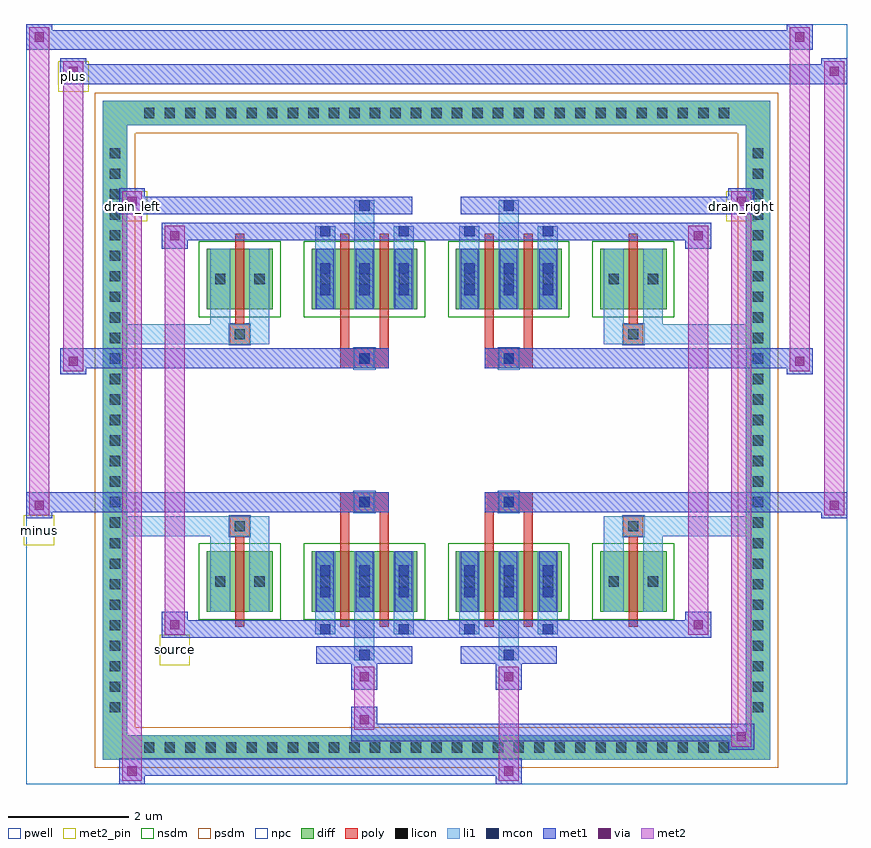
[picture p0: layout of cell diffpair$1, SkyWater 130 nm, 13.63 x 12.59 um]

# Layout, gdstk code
import gdstk
lib = gdstk.Library(unit=1e-6, precision=5e-09)
def R(c, l, rs):  # rectangles x0, y0, x1, y1
    for r in rs: c.add(gdstk.rectangle(r[:2], r[2:], *l))
def A(c, l, x, y, w, h, nx, ny, dx, dy):  # array of equal rectangles
    R(c, l, [(x+i*dx, y+j*dy, x+i*dx+w, y+j*dy+h) for i in range(nx) for j in range(ny)])
def P(c, l, *ps):  # polygons
    for p in ps: c.add(gdstk.Polygon(p, *l))
pwell = (64, 44)
diff = (65, 20)
poly = (66, 20)
licon = (66, 44)
li1 = (67, 20)
mcon = (67, 44)
met1 = (68, 20)
via = (68, 44)
met2_pin = (69, 16)
met2 = (69, 20)
nsdm = (93, 44)
psdm = (94, 20)
npc = (95, 20)

diffpair_1 = lib.new_cell('diffpair$1')
R(diffpair_1, pwell, [(-6.8,-5.86,6.8,6.73), (-4.12,-4.05,-0.01,-0.825), (0.01,-4.05,4.12,-0.825), (-4.12,0.825,-0.01,4.05), (0.01,0.825,4.12,4.05)])
A(diffpair_1, diff, -4.965, -5.46, 0.41, 0.41, 29, 2, 0.34, 10.51)
A(diffpair_1, diff, -5.53, -4.795, 0.41, 0.41, 1, 28, 0, 0.34)
A(diffpair_1, diff, 5.12, -4.795, 0.41, 0.41, 1, 28, 0, 0.34)
R(diffpair_1, diff, [(-4.965,-5.46,4.965,-5.05), (-5.53,-4.795,-5.12,4.795), (5.12,-4.795,5.53,4.795), (-3.81,-3.005,-2.71,-2.005), (-2.07,-3.005,-0.32,-2.005), (0.32,-3.005,2.07,-2.005), (2.71,-3.005,3.81,-2.005), (-3.81,2.005,-2.71,3.005), (-2.07,2.005,-0.32,3.005), (0.32,2.005,2.07,3.005), (2.71,2.005,3.81,3.005), (-4.965,5.05,4.965,5.46)])
P(diffpair_1, diff, [(5.53,5.46),(-5.53,5.46),(-5.53,-5.05),(-5.12,-5.05),(-5.12,5.05),(5.12,5.05),(5.12,-5.05),(-5.12,-5.05),(-5.53,-5.05),(-5.53,-5.46),(5.53,-5.46)])
R(diffpair_1, poly, [(-3.335,-3.255,-3.185,-1.755), (-1.595,-3.255,-1.445,-1.755), (-0.945,-3.255,-0.795,-1.755), (0.795,-3.255,0.945,-1.755), (1.445,-3.255,1.595,-1.755), (3.185,-3.255,3.335,-1.755), (-3.425,-1.755,-3.095,-1.425), (-3.425,-1.755,-3.095,-1.425), (-1.595,-1.755,-1.445,-1.355), (-0.945,-1.755,-0.795,-1.355), (0.795,-1.755,0.945,-1.355), (1.445,-1.755,1.595,-1.355), (3.095,-1.755,3.425,-1.425), (3.095,-1.755,3.425,-1.425), (-1.595,-1.355,-0.795,-1.025), (-1.36,-1.355,-1.03,-1.025), (0.795,-1.355,1.595,-1.025), (1.03,-1.355,1.36,-1.025), (-1.595,1.025,-0.795,1.355), (-1.36,1.025,-1.03,1.355), (0.795,1.025,1.595,1.355), (1.03,1.025,1.36,1.355), (-1.595,1.355,-1.445,1.755), (-0.945,1.355,-0.795,1.755), (0.795,1.355,0.945,1.755), (1.445,1.355,1.595,1.755), (-3.425,1.425,-3.095,1.755), (-3.425,1.425,-3.095,1.755), (3.095,1.425,3.425,1.755), (3.095,1.425,3.425,1.755), (-3.335,1.755,-3.185,3.255), (-1.595,1.755,-1.445,3.255), (-0.945,1.755,-0.795,3.255), (0.795,1.755,0.945,3.255), (1.445,1.755,1.595,3.255), (3.185,1.755,3.335,3.255)])
A(diffpair_1, licon, -4.845, -5.34, 0.17, 0.17, 29, 2, 0.34, 10.51)
A(diffpair_1, licon, -5.41, -4.675, 0.17, 0.17, 1, 28, 0, 0.34)
A(diffpair_1, licon, 5.24, -4.675, 0.17, 0.17, 1, 28, 0, 0.34)
A(diffpair_1, licon, -1.93, -2.59, 0.17, 0.17, 3, 2, 0.65, 5.01)
A(diffpair_1, licon, 0.46, -2.59, 0.17, 0.17, 3, 2, 0.65, 5.01)
R(diffpair_1, licon, [(-3.67,-2.59,-3.5,-2.42), (-3.02,-2.59,-2.85,-2.42), (2.85,-2.59,3.02,-2.42), (3.5,-2.59,3.67,-2.42), (-3.345,-1.675,-3.175,-1.505), (3.175,-1.675,3.345,-1.505), (-1.28,-1.275,-1.11,-1.105), (1.11,-1.275,1.28,-1.105), (-1.28,1.105,-1.11,1.275), (1.11,1.105,1.28,1.275), (-3.345,1.505,-3.175,1.675), (3.175,1.505,3.345,1.675), (-3.67,2.42,-3.5,2.59), (-3.02,2.42,-2.85,2.59), (2.85,2.42,3.02,2.59), (3.5,2.42,3.67,2.59)])
A(diffpair_1, li1, -4.925, -5.42, 0.33, 0.33, 29, 2, 0.34, 10.51)
A(diffpair_1, li1, -5.49, -4.755, 0.33, 0.33, 1, 28, 0, 0.34)
A(diffpair_1, li1, 5.16, -4.755, 0.33, 0.33, 1, 28, 0, 0.34)
A(diffpair_1, li1, -2.01, -3.005, 0.33, 1, 3, 2, 0.65, 5.01)
A(diffpair_1, li1, 0.38, -3.005, 0.33, 1, 3, 2, 0.65, 5.01)
A(diffpair_1, li1, -1.93, -2.77, 0.17, 0.17, 3, 2, 0.65, 0.36)
A(diffpair_1, li1, -1.93, -2.77, 0.17, 0.53, 3, 2, 0.65, 5.01)
A(diffpair_1, li1, 0.46, -2.77, 0.17, 0.17, 3, 2, 0.65, 0.36)
A(diffpair_1, li1, 0.46, -2.77, 0.17, 0.53, 3, 2, 0.65, 5.01)
A(diffpair_1, li1, -2.01, -2.67, 0.33, 0.33, 3, 2, 0.65, 5.01)
A(diffpair_1, li1, 0.38, -2.67, 0.33, 0.33, 3, 2, 0.65, 5.01)
A(diffpair_1, li1, -1.93, 2.24, 0.17, 0.17, 3, 2, 0.65, 0.36)
A(diffpair_1, li1, 0.46, 2.24, 0.17, 0.17, 3, 2, 0.65, 0.36)
R(diffpair_1, li1, [(-5.53,-5.46,-5.12,-5.05), (-5.53,-5.46,-5.12,-5.05), (-5.12,-5.46,5.12,-5.05), (5.12,-5.46,5.53,-5.05), (5.12,-5.46,5.53,-5.05), (-5.53,-5.05,-5.12,5.05), (5.12,-5.05,5.53,5.05), (-1.36,-3.81,-1.03,-3.005), (-1.28,-3.81,-1.11,-3.64), (1.03,-3.81,1.36,-3.005), (1.11,-3.81,1.28,-3.64), (-2.01,-3.38,-1.68,-3.005), (-1.93,-3.38,-1.76,-3.21), (-0.71,-3.38,-0.38,-3.005), (-0.63,-3.38,-0.46,-3.21), (0.38,-3.38,0.71,-3.005), (0.46,-3.38,0.63,-3.21), (1.68,-3.38,2.01,-3.005), (1.76,-3.38,1.93,-3.21), (-3.75,-3.005,-3.42,-2.005), (-3.1,-3.005,-2.77,-2.005), (2.77,-3.005,3.1,-2.005), (3.42,-3.005,3.75,-2.005), (-3.75,-2.67,-3.42,-2.34), (-3.1,-2.67,-2.77,-2.34), (2.77,-2.67,3.1,-2.34), (3.42,-2.67,3.75,-2.34), (-3.75,-2.005,-3.42,-1.425), (-3.1,-2.005,-2.77,-1.425), (2.77,-2.005,3.1,-1.425), (3.42,-2.005,3.75,-1.425), (-5.53,-1.755,-3.425,-1.425), (-3.75,-1.755,-3.425,-1.425), (-3.425,-1.755,-3.095,-1.425), (-3.095,-1.755,-2.77,-1.425), (2.77,-1.755,3.095,-1.425), (3.095,-1.755,3.425,-1.425), (3.095,-1.755,5.53,-1.425), (3.425,-1.755,3.75,-1.425), (-1.36,-1.355,-1.03,-1.025), (1.03,-1.355,1.36,-1.025), (-1.36,1.025,-1.03,1.355), (1.03,1.025,1.36,1.355), (-5.53,1.425,-3.425,1.755), (-3.75,1.425,-3.425,1.755), (-3.75,1.425,-3.42,2.005), (-3.425,1.425,-3.095,1.755), (-3.1,1.425,-2.77,2.005), (-3.095,1.425,-2.77,1.755), (2.77,1.425,3.095,1.755), (2.77,1.425,3.1,2.005), (3.095,1.425,3.425,1.755), (3.095,1.425,5.53,1.755), (3.42,1.425,3.75,2.005), (3.425,1.425,3.75,1.755), (-3.75,2.005,-3.42,3.005), (-3.1,2.005,-2.77,3.005), (2.77,2.005,3.1,3.005), (3.42,2.005,3.75,3.005), (-3.75,2.34,-3.42,2.67), (-3.1,2.34,-2.77,2.67), (2.77,2.34,3.1,2.67), (3.42,2.34,3.75,2.67), (-2.01,3.005,-1.68,3.38), (-1.36,3.005,-1.03,3.81), (-0.71,3.005,-0.38,3.38), (0.38,3.005,0.71,3.38), (1.03,3.005,1.36,3.81), (1.68,3.005,2.01,3.38), (-1.93,3.21,-1.76,3.38), (-0.63,3.21,-0.46,3.38), (0.46,3.21,0.63,3.38), (1.76,3.21,1.93,3.38), (-1.28,3.64,-1.11,3.81), (1.11,3.64,1.28,3.81), (-5.53,5.05,-5.12,5.46), (-5.53,5.05,-5.12,5.46), (-5.12,5.05,5.12,5.46), (5.12,5.05,5.53,5.46), (5.12,5.05,5.53,5.46)])
A(diffpair_1, mcon, -1.93, -2.77, 0.17, 0.17, 3, 2, 0.65, 0.36)
A(diffpair_1, mcon, 0.46, -2.77, 0.17, 0.17, 3, 2, 0.65, 0.36)
A(diffpair_1, mcon, -1.93, 2.24, 0.17, 0.17, 3, 2, 0.65, 0.36)
A(diffpair_1, mcon, 0.46, 2.24, 0.17, 0.17, 3, 2, 0.65, 0.36)
R(diffpair_1, mcon, [(-1.28,-3.81,-1.11,-3.64), (1.11,-3.81,1.28,-3.64), (-1.93,-3.38,-1.76,-3.21), (-0.63,-3.38,-0.46,-3.21), (0.46,-3.38,0.63,-3.21), (1.76,-3.38,1.93,-3.21), (-1.28,-1.275,-1.11,-1.105), (1.11,-1.275,1.28,-1.105), (-1.28,1.105,-1.11,1.275), (1.11,1.105,1.28,1.275), (-1.93,3.21,-1.76,3.38), (-0.63,3.21,-0.46,3.38), (0.46,3.21,0.63,3.38), (1.76,3.21,1.93,3.38), (-1.28,3.64,-1.11,3.81), (1.11,3.64,1.28,3.81)])
A(diffpair_1, met1, -1.99, -3.005, 0.29, 1, 3, 2, 0.65, 5.01)
A(diffpair_1, met1, 0.4, -3.005, 0.29, 1, 3, 2, 0.65, 5.01)
A(diffpair_1, met1, -1.99, -2.83, 0.29, 0.29, 3, 2, 0.65, 0.36)
A(diffpair_1, met1, 0.4, -2.83, 0.29, 0.29, 3, 2, 0.65, 0.36)
A(diffpair_1, met1, -1.99, 2.18, 0.29, 0.29, 3, 2, 0.65, 0.36)
A(diffpair_1, met1, 0.4, 2.18, 0.29, 0.29, 3, 2, 0.65, 0.36)
R(diffpair_1, met1, [(-5.26,-5.86,-4.83,-5.43), (0.98,-5.86,1.41,-5.43), (-5.26,-5.72,1.41,-5.43), (4.83,-5.29,5.26,-4.86), (-1.41,-5.15,5.26,-4.86), (-1.41,-5.01,-0.98,-4.58), (-1.41,-4.3,-0.98,-3.87), (0.98,-4.3,1.41,-3.87), (-1.99,-3.87,-0.4,-3.58), (-1.34,-3.87,-1.05,-3.58), (0.4,-3.87,1.99,-3.58), (1.05,-3.87,1.34,-3.58), (-4.55,-3.44,-4.12,-3.01), (-4.55,-3.44,-1.99,-3.15), (-1.99,-3.44,-1.7,-3.15), (-1.99,-3.44,-0.4,-3.15), (-0.69,-3.44,-0.4,-3.15), (-0.4,-3.44,0.4,-3.15), (0.4,-3.44,0.69,-3.15), (0.4,-3.44,1.99,-3.15), (1.7,-3.44,1.99,-3.15), (1.99,-3.44,4.55,-3.15), (4.12,-3.44,4.55,-3.01), (-6.8,-1.455,-6.37,-1.025), (6.37,-1.455,6.8,-1.025), (-6.8,-1.355,-0.795,-1.025), (-1.595,-1.355,-0.795,-1.025), (0.795,-1.355,1.595,-1.025), (0.795,-1.355,6.8,-1.025), (-1.34,-1.335,-1.05,-1.045), (1.05,-1.335,1.34,-1.045), (-6.23,0.925,-5.8,1.355), (5.8,0.925,6.23,1.355), (-6.23,1.025,-1.595,1.355), (-1.595,1.025,-0.795,1.355), (0.795,1.025,1.595,1.355), (1.595,1.025,6.23,1.355), (-1.34,1.045,-1.05,1.335), (1.05,1.045,1.34,1.335), (-4.55,3.01,-4.12,3.44), (4.12,3.01,4.55,3.44), (-4.55,3.15,-1.99,3.44), (-1.99,3.15,-1.7,3.44), (-1.99,3.15,-0.4,3.44), (-0.69,3.15,-0.4,3.44), (-0.4,3.15,0.4,3.44), (0.4,3.15,0.69,3.44), (0.4,3.15,1.99,3.44), (1.7,3.15,1.99,3.44), (1.99,3.15,4.55,3.44), (-5.26,3.58,-4.83,4.01), (-5.26,3.58,-1.99,3.87), (-1.99,3.58,-0.4,3.87), (-1.34,3.58,-1.05,3.87), (0.4,3.58,1.99,3.87), (1.05,3.58,1.34,3.87), (1.99,3.58,5.26,3.87), (4.83,3.58,5.26,4.01), (-6.23,5.73,-5.8,6.16), (-6.23,5.73,-4.12,6.06), (-4.12,5.73,4.12,6.06), (4.12,5.73,6.8,6.06), (6.37,5.73,6.8,6.16), (-6.8,6.3,-6.37,6.73), (-6.8,6.3,-4.12,6.63), (-4.12,6.3,4.12,6.63), (4.12,6.3,6.23,6.63), (5.8,6.3,6.23,6.73)])
R(diffpair_1, via, [(-5.12,-5.72,-4.97,-5.57), (1.12,-5.72,1.27,-5.57), (4.97,-5.15,5.12,-5), (-1.27,-4.87,-1.12,-4.72), (-1.27,-4.16,-1.12,-4.01), (1.12,-4.16,1.27,-4.01), (-4.41,-3.3,-4.26,-3.15), (4.26,-3.3,4.41,-3.15), (-6.66,-1.315,-6.51,-1.165), (6.51,-1.315,6.66,-1.165), (-6.09,1.065,-5.94,1.215), (5.94,1.065,6.09,1.215), (-4.41,3.15,-4.26,3.3), (4.26,3.15,4.41,3.3), (-5.12,3.72,-4.97,3.87), (4.97,3.72,5.12,3.87), (-6.09,5.87,-5.94,6.02), (6.51,5.87,6.66,6.02), (-6.66,6.44,-6.51,6.59), (5.94,6.44,6.09,6.59)])
R(diffpair_1, met2_pin, [(-4.585,-3.89,-4.085,-3.39), (-6.835,-1.905,-6.335,-1.405), (-5.295,3.46,-4.795,3.96), (4.795,3.46,5.295,3.96), (-6.265,5.61,-5.765,6.11)])
R(diffpair_1, met2, [(-5.21,-5.81,-4.88,-5.48), (-5.21,-5.81,-4.88,3.96), (1.03,-5.81,1.36,-5.48), (1.03,-5.48,1.36,-4.25), (4.88,-5.24,5.21,-4.91), (4.88,-5.24,5.21,3.96), (-1.36,-4.96,-1.03,-4.63), (-1.36,-4.63,-1.03,-4.25), (-1.36,-4.25,-1.03,-3.92), (1.03,-4.25,1.36,-3.92), (-4.5,-3.39,-4.17,-3.06), (-4.5,-3.39,-4.17,3.39), (4.17,-3.39,4.5,-3.06), (4.17,-3.39,4.5,3.39), (-6.75,-1.405,-6.42,-1.075), (-6.75,-1.405,-6.42,6.68), (6.42,-1.405,6.75,-1.075), (6.42,-1.405,6.75,6.11), (-6.18,0.975,-5.85,1.305), (-6.18,0.975,-5.85,6.11), (5.85,0.975,6.18,1.305), (5.85,0.975,6.18,6.68), (-4.5,3.06,-4.17,3.39), (4.17,3.06,4.5,3.39), (-5.21,3.63,-4.88,3.96), (4.88,3.63,5.21,3.96), (-6.18,5.78,-5.85,6.11), (6.42,5.78,6.75,6.11), (-6.75,6.35,-6.42,6.68), (5.85,6.35,6.18,6.68)])
P(diffpair_1, met2, [(6.75,-1.405),(6.75,-1.405),(6.75,-1.075),(6.75,-1.075)],
  [(6.75,5.78),(6.75,5.78),(6.75,6.11),(6.75,6.11)],
  [(-6.42,-1.405),(-6.42,-1.405),(-6.42,-1.075),(-6.42,-1.075)],
  [(-6.42,6.35),(-6.42,6.35),(-6.42,6.68),(-6.42,6.68)],
  [(6.18,0.975),(6.18,0.975),(6.18,1.305),(6.18,1.305)],
  [(6.18,6.35),(6.18,6.35),(6.18,6.68),(6.18,6.68)],
  [(-5.85,0.975),(-5.85,0.975),(-5.85,1.305),(-5.85,1.305)],
  [(-5.85,5.78),(-5.85,5.78),(-5.85,6.11),(-5.85,6.11)],
  [(-4.88,-5.81),(-4.88,-5.81),(-4.88,-5.48),(-4.88,-5.48)],
  [(-4.88,3.63),(-4.88,3.63),(-4.88,3.96),(-4.88,3.96)],
  [(5.21,-5.24),(5.21,-5.24),(5.21,-4.91),(5.21,-4.91)],
  [(5.21,3.63),(5.21,3.63),(5.21,3.96),(5.21,3.96)],
  [(-4.17,-3.39),(-4.17,-3.39),(-4.17,-3.06),(-4.17,-3.06)],
  [(-4.17,3.06),(-4.17,3.06),(-4.17,3.39),(-4.17,3.39)],
  [(4.5,-3.39),(4.5,-3.39),(4.5,-3.06),(4.5,-3.06)],
  [(4.5,3.06),(4.5,3.06),(4.5,3.39),(4.5,3.39)])
R(diffpair_1, nsdm, [(-3.94,-3.135,-2.58,-1.875), (-2.2,-3.135,-0.19,-1.875), (0.19,-3.135,2.2,-1.875), (2.58,-3.135,3.94,-1.875), (-3.94,1.875,-2.58,3.135), (-2.2,1.875,-0.19,3.135), (0.19,1.875,2.2,3.135), (2.58,1.875,3.94,3.135)])
P(diffpair_1, psdm, [(5.66,5.59),(-5.66,5.59),(-5.66,-4.92),(-4.99,-4.92),(-4.99,4.92),(4.99,4.92),(4.99,-4.92),(-4.99,-4.92),(-5.66,-4.92),(-5.66,-5.59),(5.66,-5.59)])
R(diffpair_1, npc, [(-3.445,-1.775,-3.075,-1.405), (3.075,-1.775,3.445,-1.405), (-1.38,-1.375,-1.01,-1.005), (1.01,-1.375,1.38,-1.005), (-1.38,1.005,-1.01,1.375), (1.01,1.005,1.38,1.375), (-3.445,1.405,-3.075,1.775), (3.075,1.405,3.445,1.775)])
diffpair_1.add(gdstk.Label('minus', (-6.585,-1.655), layer=69, texttype=5))
diffpair_1.add(gdstk.Label('drain_right', (5.045,3.71), layer=69, texttype=5))
diffpair_1.add(gdstk.Label('drain_left', (-5.045,3.71), layer=69, texttype=5))
diffpair_1.add(gdstk.Label('source', (-4.335,-3.64), layer=69, texttype=5))
diffpair_1.add(gdstk.Label('plus', (-6.015,5.86), layer=69, texttype=5))

lib.write_gds('diffpair_1.gds')
